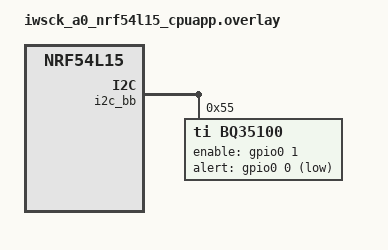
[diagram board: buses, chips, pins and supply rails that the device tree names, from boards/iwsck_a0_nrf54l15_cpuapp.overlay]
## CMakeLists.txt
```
# Copyright (c) 2024 CoreKinect Inc.
# SPDX-License-Identifier: Apache-2.0

cmake_minimum_required(VERSION 3.20.0)

list(APPEND ZEPHYR_EXTRA_MODULES "${CMAKE_CURRENT_SOURCE_DIR}/../..")

find_package(Zephyr REQUIRED HINTS $ENV{ZEPHYR_BASE})
project(bq35100_sample)

target_sources(app PRIVATE src/main.c)
```

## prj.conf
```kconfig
# BQ35100 Sample Application

# Shell
CONFIG_SHELL=y
CONFIG_SHELL_BACKEND_SERIAL=y
CONFIG_SHELL_PROMPT_UART="bq35100> "

# Serial
CONFIG_SERIAL=y
CONFIG_CONSOLE=y
CONFIG_UART_CONSOLE=y
CONFIG_UART_INTERRUPT_DRIVEN=y
CONFIG_PRINTK=y

# Logging
CONFIG_LOG=y
CONFIG_LOG_MODE_MINIMAL=y

# GPIO
CONFIG_GPIO=y

# I2C
CONFIG_I2C=y
CONFIG_I2C_NRFX=y
CONFIG_I2C_SHELL=y

# Sensor subsystem
CONFIG_SENSOR=y
CONFIG_SENSOR_SHELL=y

# BQ35100 driver
CONFIG_CK_BQ35100=y
CONFIG_CK_BQ35100_TRIGGER=y
CONFIG_CK_BQ35100_SHELL=y
CONFIG_CK_BQ35100_LOG_LEVEL=4

# LF clock — A0 has no LFXO
CONFIG_CLOCK_CONTROL=y
CONFIG_CLOCK_CONTROL_NRF=y
CONFIG_CLOCK_CONTROL_NRF_K32SRC_RC=y
CONFIG_CLOCK_CONTROL_NRF_K32SRC_RC_CALIBRATION=y
CONFIG_CLOCK_CONTROL_NRF_K32SRC_250PPM=y

# System
CONFIG_MAIN_STACK_SIZE=4096
CONFIG_HEAP_MEM_POOL_SIZE=4096
CONFIG_REBOOT=y
```

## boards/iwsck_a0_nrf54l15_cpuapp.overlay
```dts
/* BQ35100 sample overlay for IWSCK A0
 *
 * A0 wiring:
 *   I2C:       bit-bang on P2.00 (SCL) / P2.01 (SDA)
 *   GE (enable): P0.01, active-high
 *   ALERT:       P0.00, active-low
 *   Address:     0x55
 */

&i2c_bb {
	status = "okay";

	bq35100: bq35100@55 {
		compatible = "ti,bq35100";
		reg = <0x55>;
		enable-gpios = <&gpio0 1 GPIO_ACTIVE_HIGH>;
		alert-gpios = <&gpio0 0 GPIO_ACTIVE_LOW>;
		design-capacity-mah = <2200>;
		gauging-mode = "accumulator";
	};
};
```

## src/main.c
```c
/**
 * @file main.c
 * @brief BQ35100 Fuel Gauge Sample Application
 *
 * Copyright (c) 2024 CoreKinect Inc.
 *
 * Demonstrates all BQ35100 driver capabilities:
 * - Sensor API (sample_fetch / channel_get)
 * - Gauge start/stop lifecycle
 * - ALERT interrupt handling
 * - Device identification
 * - Periodic measurement polling
 */

#include <zephyr/device.h>
#include <zephyr/drivers/sensor.h>
#include <zephyr/kernel.h>
#include <zephyr/logging/log.h>

#include <corekinect/gauges/bq35100/bq35100.h>

LOG_MODULE_REGISTER(bq35100_sample, LOG_LEVEL_INF);

static const struct device *gauge = DEVICE_DT_GET(DT_NODELABEL(bq35100));

static volatile bool alert_fired;

static void alert_handler(const struct device *dev, const struct sensor_trigger *trig)
{
	ARG_UNUSED(dev);
	ARG_UNUSED(trig);

	alert_fired = true;
	LOG_INF("ALERT interrupt received");
}

static void print_device_info(void)
{
	uint16_t devtype, fw_ver, hw_ver, chem_id, cs;

	bq35100_control_read(gauge, BQ35100_CNTL_DEVICE_TYPE, &devtype);
	bq35100_control_read(gauge, BQ35100_CNTL_FW_VERSION, &fw_ver);
	bq35100_control_read(gauge, BQ35100_CNTL_HW_VERSION, &hw_ver);
	bq35100_control_read(gauge, BQ35100_CNTL_CHEM_ID, &chem_id);
	bq35100_get_control_status(gauge, &cs);

	printk("\n=== BQ35100 Device Information ===\n");
	printk("  Device Type:   0x%04X %s\n", devtype,
	       devtype == BQ35100_DEVICE_TYPE ? "(BQ35100)" : "(unknown)");
	printk("  FW Version:    0x%04X\n", fw_ver);
	printk("  HW Version:    0x%04X\n", hw_ver);
	printk("  Chemistry ID:  0x%04X\n", chem_id);
	printk("  CONTROL_STATUS: 0x%04X\n", cs);
	printk("  Security:      %s\n",
	       (cs & BQ35100_CS_SEC_MASK) == BQ35100_CS_SEC_SEALED ? "SEALED" :
	       (cs & BQ35100_CS_SEC_MASK) == BQ35100_CS_SEC_UNSEALED ? "UNSEALED" :
	       "FULL_ACCESS");
	printk("  INITCOMP:      %s\n", (cs & BQ35100_CS_INITCOMP) ? "yes" : "no");
}

static void print_measurements(void)
{
	struct sensor_value val;
	int rc;

	rc = sensor_sample_fetch(gauge);
	if (rc != 0) {
		LOG_ERR("sample_fetch failed: %d", rc);
		return;
	}

	printk("\n--- Measurements ---\n");

	sensor_channel_get(gauge, SENSOR_CHAN_GAUGE_VOLTAGE, &val);
	printk("  Voltage:       %d.%03d V\n", val.val1, val.val2 / 1000);

	sensor_channel_get(gauge, SENSOR_CHAN_GAUGE_AVG_CURRENT, &val);
	printk("  Current:       %d mA\n", val.val1);

	sensor_channel_get(gauge, SENSOR_CHAN_GAUGE_TEMP, &val);
	printk("  Ext Temp:      %d.%02d C (NTC)%s\n",
	       val.val1, (val.val2 < 0 ? -val.val2 : val.val2) / 10000,
	       (val.val1 < -30) ? " [no NTC?]" : "");

	sensor_channel_get(gauge, (enum sensor_channel)SENSOR_CHAN_BQ35100_INTERNAL_TEMP, &val);
	printk("  Die Temp:      %d.%02d C\n", val.val1, val.val2 / 10000);

	sensor_channel_get(gauge, (enum sensor_channel)SENSOR_CHAN_BQ35100_SOH, &val);
	printk("  SOH:           %d %%\n", val.val1);

	sensor_channel_get(gauge, SENSOR_CHAN_GAUGE_REMAINING_CHARGE_CAPACITY, &val);
	printk("  Accum Cap:     %d.%06d Ah\n", val.val1, val.val2);

	sensor_channel_get(gauge, (enum sensor_channel)SENSOR_CHAN_BQ35100_IMPEDANCE, &val);
	printk("  Impedance:     %d mohm\n", val.val1);

	sensor_channel_get(gauge, (enum sensor_channel)SENSOR_CHAN_BQ35100_DESIGN_CAP, &val);
	printk("  Design Cap:    %d mAh\n", val.val1);

	sensor_channel_get(gauge, (enum sensor_channel)SENSOR_CHAN_BQ35100_BATTERY_STATUS, &val);
	uint8_t bstat = (uint8_t)val.val1;
	printk("  BattStatus:    0x%02X [GA=%d DSG=%d ALERT=%d]\n",
	       bstat, !!(bstat & BQ35100_BSTAT_DSG), !!(bstat & BQ35100_BSTAT_DSG),
	       !!(bstat & BQ35100_BSTAT_ALERT));

	sensor_channel_get(gauge, (enum sensor_channel)SENSOR_CHAN_BQ35100_CONTROL_STATUS, &val);
	uint16_t cs = (uint16_t)val.val1;
	printk("  CtrlStatus:    0x%04X [GA=%d G_DONE=%d]\n",
	       cs, !!(cs & BQ35100_CS_GA), !!(cs & BQ35100_CS_G_DONE));
}

int main(void)
{
	printk("\n\n========================================\n");
	printk("  BQ35100 Fuel Gauge Sample Application\n");
	printk("========================================\n");

	if (!device_is_ready(gauge)) {
		LOG_ERR("BQ35100 device not ready");
		return -1;
	}

	LOG_INF("BQ35100 device ready");

	/* Print device info */
	print_device_info();

	/* Register alert trigger */
	struct sensor_trigger trig = {
		.type = (enum sensor_trigger_type)SENSOR_TRIG_BQ35100_ALERT,
		.chan = SENSOR_CHAN_ALL,
	};

	int rc = sensor_trigger_set(gauge, &trig, alert_handler);
	if (rc == 0) {
		LOG_INF("Alert trigger registered");
	} else {
		LOG_WRN("Alert trigger not available: %d", rc);
	}

	/* Start gauging */
	struct sensor_value dummy = {0};
	sensor_attr_set(gauge, SENSOR_CHAN_ALL,
			(enum sensor_attribute)SENSOR_ATTR_BQ35100_GAUGE_START, &dummy);

	/* Periodic measurement loop */
	printk("\nStarting periodic measurements (every 5s)...\n");
	for (int i = 0; i < 60; i++) {
		print_measurements();

		if (alert_fired) {
			alert_fired = false;
			printk("  ** ALERT was triggered **\n");
		}

		k_sleep(K_SECONDS(5));
	}

	/* Stop gauging */
	sensor_attr_set(gauge, SENSOR_CHAN_ALL,
			(enum sensor_attribute)SENSOR_ATTR_BQ35100_GAUGE_STOP, &dummy);

	printk("\nSample complete. Use shell commands for interactive control.\n");
	return 0;
}
```
